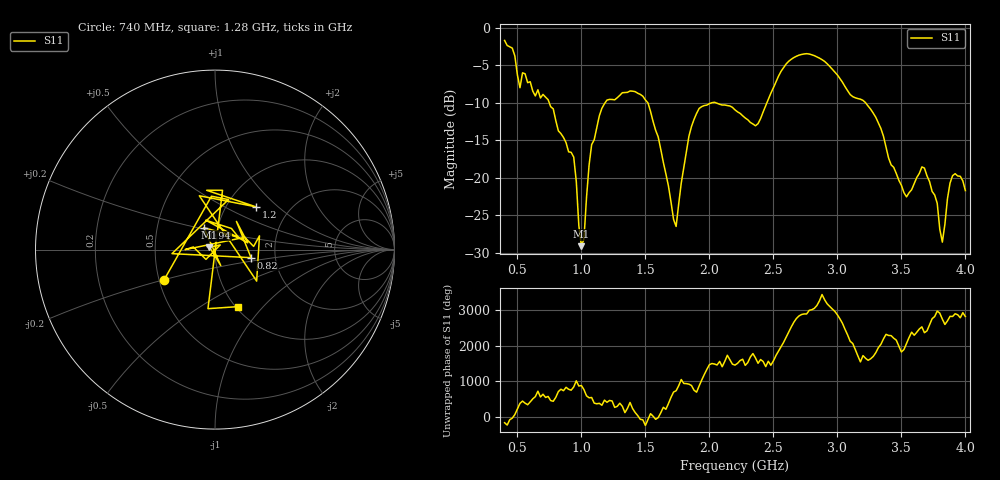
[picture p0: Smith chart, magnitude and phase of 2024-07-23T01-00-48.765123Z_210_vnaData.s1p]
!Created with skrf (http://scikit-rf.org).
# Hz S RI R 50.0
!freq ReS11 ImS11
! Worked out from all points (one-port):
!   181 points, 400 MHz to 4 GHz, reference 50 ohm
!   lowest |S11| = -29.1 dB at 1 GHz (marker M1), VSWR 1.07, Z = 46.9 + j1.29 ohm
!   |S11| at or under -10 dB: 749.1 MHz to 1.184 GHz (435.4 MHz wide, 45 % of centre); 1.52 GHz to 2.016 GHz (496.4 MHz wide, 28.1 % of centre); 3.221 GHz to end of sweep (the widest 3 of 4)
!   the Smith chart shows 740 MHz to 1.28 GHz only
!   S11 on the Smith chart (normalised r, x): 740 MHz: 0.53, -0.20; 820 MHz: 1.49, -0.14; 940 MHz: 0.86, +0.21; 1.2 GHz: 1.37, +0.73; 1.28 GHz: 1.02, -0.74
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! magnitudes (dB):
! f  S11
! 400 MHz  -1.7
! 520 MHz  -8.0
! 740 MHz  -9.6
! 820 MHz  -13.7
! 860 MHz  -14.6
! 940 MHz  -17.2
! 1 GHz  -29.1
! 1.02 GHz  -28.1
! 1.08 GHz  -15.6
! 1.2 GHz  -9.6
! 1.28 GHz  -9.3
! 1.3 GHz  -9.0
! 1.52 GHz  -10.0
! 1.72 GHz  -25.5
! 1.76 GHz  -23.5
! 1.84 GHz  -14.4
! 1.92 GHz  -10.7
! 2.2 GHz  -10.9
! 2.38 GHz  -12.8
! 2.66 GHz  -4.0
! 3.1 GHz  -8.9
! 3.3 GHz  -11.9
! 3.56 GHz  -22.0
! 3.68 GHz  -18.7
! 3.78 GHz  -23.4
! 3.82 GHz  -28.6
! 3.9 GHz  -19.7
! 4 GHz  -21.7
